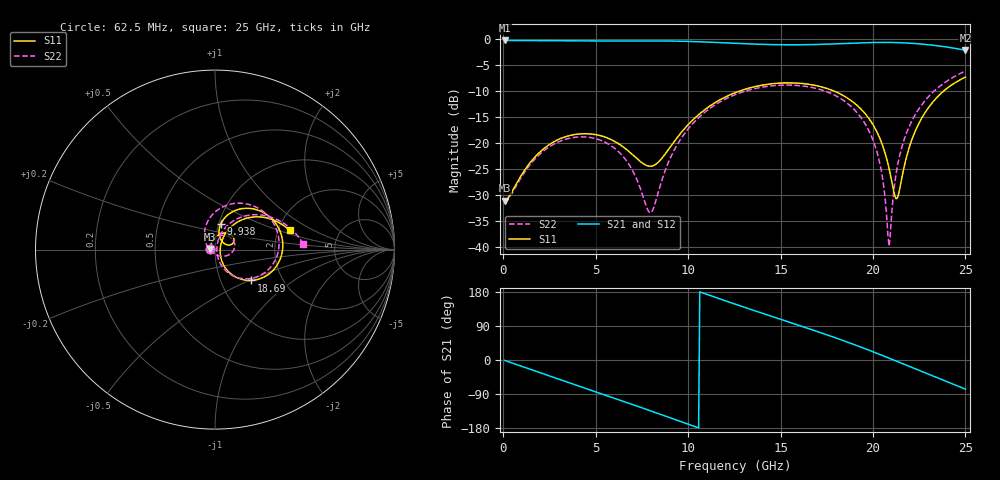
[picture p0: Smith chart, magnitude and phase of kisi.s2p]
! BV_ts_refinout2_q050f25s: /TS-PCIe Components/REFINOUT2 via F.Cu→B.Cu at (204.176, 89.904)
! stackup: Thunderscope_Rev5.3 from the board file and its kisi.json
! ports: 1 in, 2 out
! kisi-fdtd, conformal, dfine 0.05 mm, 609756 cells
# Hz S RI R 50
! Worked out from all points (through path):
!   400 points, 62.5 MHz to 25 GHz, reference 50 ohm
!   highest |S21| = -0.24 dB at 62.5 MHz (marker M1); lowest = -2.1 dB at 25 GHz (marker M2)
!   group delay of S21, straight-line fit = 47.7 ps
!   lowest |S11| = -31.2 dB at 62.5 MHz (marker M3), VSWR 1.06, Z = 47.3 + j0.301 ohm
!   |S11| at or under -10 dB: start of sweep to 12.77 GHz; 17.89 GHz to 23.82 GHz (5.93 GHz wide, 28.4 % of centre)
!   |S22| runs from -39.9 to -6.1 dB; largest |S21 - S12| = 0.0025
!   S11 on the Smith chart (normalised r, x): 62.5 MHz: 0.95, +0.01; 9.938 GHz: 1.02, +0.30; 18.69 GHz: 1.40, -0.52; 25 GHz: 2.32, +0.61
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6.25e7  -0.0275 0.00318  0.9727 -0.018  0.9712 -0.0179  -0.0267 0.00305
2.0625e9  0.0193 0.0821  0.7946 -0.5539  0.7957 -0.5539  0.026 0.0763
4.25e9  0.0961 0.0758  0.3058 -0.9122  0.305 -0.9123  0.1058 0.0436
6.4375e9  0.0886 0.0273  -0.299 -0.9151  -0.2985 -0.9152  0.0677 -0.0331
7.9375e9  0.0431 0.0411  -0.6658 -0.697  -0.6661 -0.6974  -0.0124 -0.0171
8.375e9  0.0319 0.0567  -0.751 -0.603  -0.7514 -0.6031  -0.033 0.00377
9.0625e9  0.0225 0.0905  -0.8567 -0.4337  -0.857 -0.4334  -0.0546 0.0493
9.9375e9  0.0321 0.1425  -0.9335 -0.1926  -0.9332 -0.1922  -0.0543 0.1208
1.11875e10  0.0926 0.2082  -0.9222 0.1607  -0.9221 0.1604  0.00823 0.2161
1.25625e10  0.2041 0.2284  -0.7653 0.4976  -0.7657 0.4976  0.138 0.2587
1.4625e10  0.3526 0.1235  -0.352 0.8136  -0.3517 0.8136  0.3201 0.157
1.66875e10  0.3577 -0.0657  0.1533 0.8741  0.1528 0.8741  0.3389 -0.0512
1.86875e10  0.2026 -0.1716  0.6352 0.6563  0.6358 0.6564  0.1692 -0.1629
1.95625e10  0.1166 -0.1534  0.8017 0.4625  0.802 0.4617  0.078 -0.1327
2.01875e10  0.0656 -0.1125  0.8848 0.29  0.8842 0.2893  0.0304 -0.0792
2.05625e10  0.0439 -0.0782  0.9155 0.1762  0.9145 0.176  0.0145 -0.0375
2.0875e10  0.0327 -0.0456  0.9283 0.0775  0.9273 0.0779  0.0101 0.000557
2.1125e10  0.0288 -0.0178  0.9298 -0.00259  0.9291 -0.00183  0.0129 0.0319
2.13125e10  0.029 0.00346  0.9257 -0.0627  0.9252 -0.0617  0.0188 0.0553
2.19375e10  0.0488 0.0729  0.8799 -0.2575  0.8805 -0.2567  0.0618 0.1268
2.3125e10  0.1607 0.17  0.6739 -0.5659  0.6743 -0.5663  0.2205 0.1946
2.5e10  0.4173 0.1074  0.1796 -0.7645  0.1776 -0.766  0.4917 0.0322
